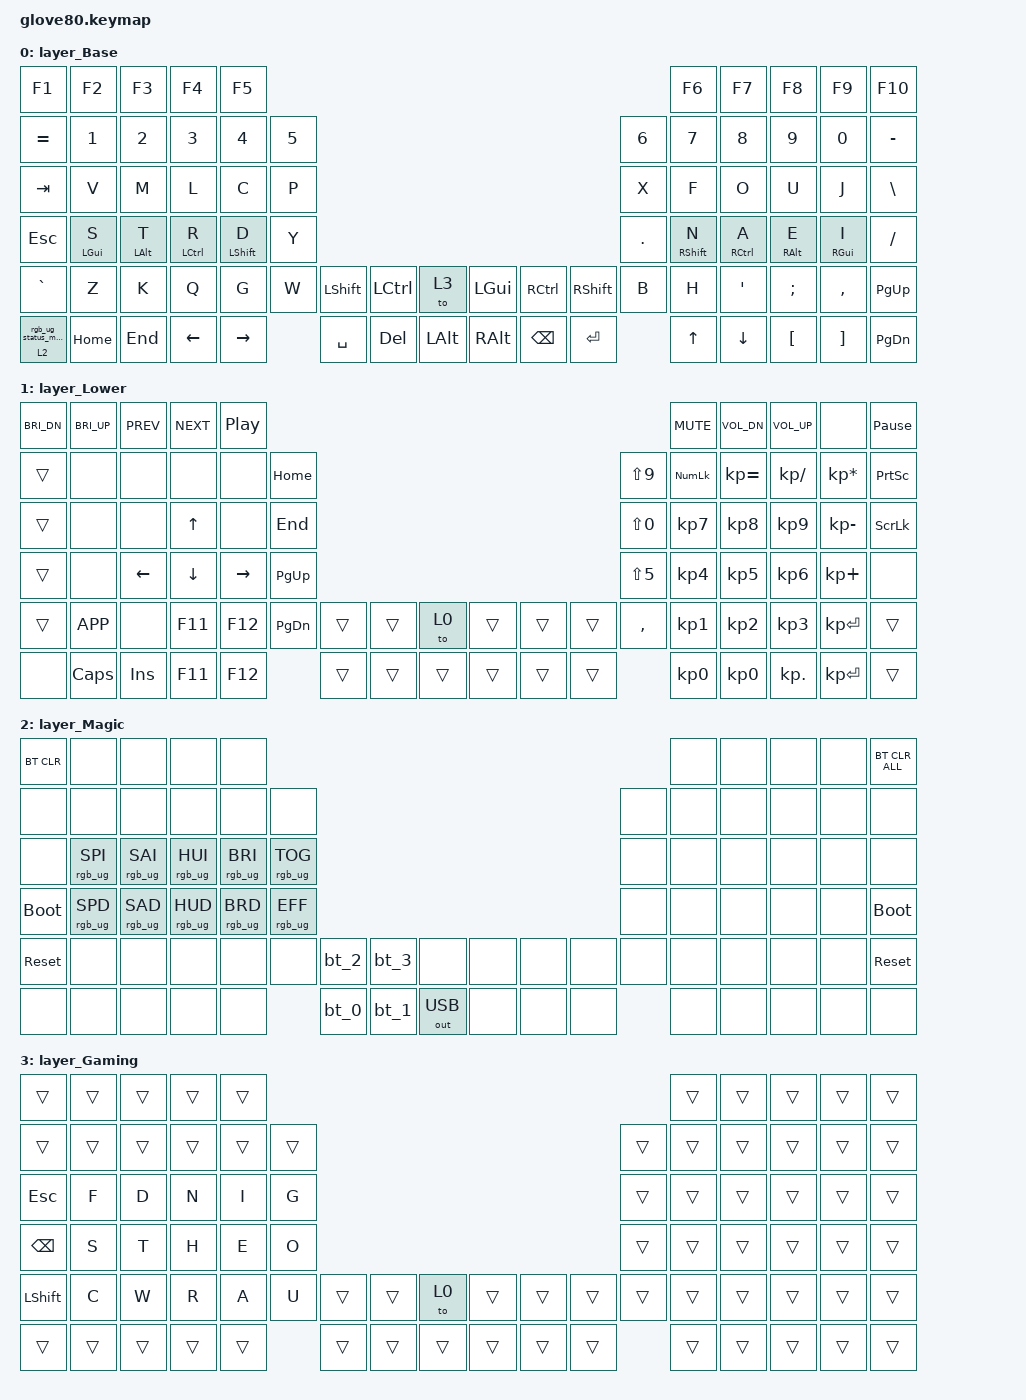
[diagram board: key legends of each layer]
/*
 * Copyright (c) 2020 The ZMK Contributors
 *
 * SPDX-License-Identifier: MIT
 */

#include <physical_layouts.dtsi>
#include <behaviors.dtsi>
#include <dt-bindings/zmk/bt.h>
#include <dt-bindings/zmk/keys.h>
#include <dt-bindings/zmk/outputs.h>
#include <dt-bindings/zmk/rgb.h>

#define HYPER LC(LS(LG(LALT)))
#define POS_LH_C6R1 0
#define POS_LH_C5R1 1
#define POS_LH_C4R1 2
#define POS_LH_C3R1 3
#define POS_LH_C2R1 4
#define POS_RH_C2R1 5
#define POS_RH_C3R1 6
#define POS_RH_C4R1 7
#define POS_RH_C5R1 8
#define POS_RH_C6R1 9
#define POS_LH_C6R2 10
#define POS_LH_C5R2 11
#define POS_LH_C4R2 12
#define POS_LH_C3R2 13
#define POS_LH_C2R2 14
#define POS_LH_C1R2 15
#define POS_RH_C1R2 16
#define POS_RH_C2R2 17
#define POS_RH_C3R2 18
#define POS_RH_C4R2 19
#define POS_RH_C5R2 20
#define POS_RH_C6R2 21
#define POS_LH_C6R3 22
#define POS_LH_C5R3 23
#define POS_LH_C4R3 24
#define POS_LH_C3R3 25
#define POS_LH_C2R3 26
#define POS_LH_C1R3 27
#define POS_RH_C1R3 28
#define POS_RH_C2R3 29
#define POS_RH_C3R3 30
#define POS_RH_C4R3 31
#define POS_RH_C5R3 32
#define POS_RH_C6R3 33
#define POS_LH_C6R4 34
#define POS_LH_C5R4 35
#define POS_LH_C4R4 36
#define POS_LH_C3R4 37
#define POS_LH_C2R4 38
#define POS_LH_C1R4 39
#define POS_RH_C1R4 40
#define POS_RH_C2R4 41
#define POS_RH_C3R4 42
#define POS_RH_C4R4 43
#define POS_RH_C5R4 44
#define POS_RH_C6R4 45
#define POS_LH_C6R5 46
#define POS_LH_C5R5 47
#define POS_LH_C4R5 48
#define POS_LH_C3R5 49
#define POS_LH_C2R5 50
#define POS_LH_C1R5 51
#define POS_LH_T1 52
#define POS_LH_T2 53
#define POS_LH_T3 54
#define POS_RH_T3 55
#define POS_RH_T2 56
#define POS_RH_T1 57
#define POS_RH_C1R5 58
#define POS_RH_C2R5 59
#define POS_RH_C3R5 60
#define POS_RH_C4R5 61
#define POS_RH_C5R5 62
#define POS_RH_C6R5 63
#define POS_LH_C6R6 64
#define POS_LH_C5R6 65
#define POS_LH_C4R6 66
#define POS_LH_C3R6 67
#define POS_LH_C2R6 68
#define POS_LH_T4 69
#define POS_LH_T5 70
#define POS_LH_T6 71
#define POS_RH_T6 72
#define POS_RH_T5 73
#define POS_RH_T4 74
#define POS_RH_C2R6 75
#define POS_RH_C3R6 76
#define POS_RH_C4R6 77
#define POS_RH_C5R6 78
#define POS_RH_C6R6 79

// layers

#define DEFAULT 0
#define LOWER 1
#define LAYER_MAGIC 2
#define GAMING 3

/ {
    behaviors {
        // For the "layer" key, it'd nice to be able to use it as either a shift or a toggle.
        // Configure it as a tap dance, so the first tap (or hold) is a &mo and the second tap is a &to

        layer_td: tap_dance_0 {
            compatible = "zmk,behavior-tap-dance";
            label = "LAYER_TAP_DANCE";
            #binding-cells = <0>;
            tapping-term-ms = <200>;
            bindings = <&mo LOWER>, <&to LOWER>;
        };

        magic: magic_hold_tap {
            compatible = "zmk,behavior-hold-tap";
            label = "MAGIC_HOLD_TAP";
            #binding-cells = <2>;
            flavor = "tap-preferred";
            tapping-term-ms = <200>;
            bindings = <&mo>, <&rgb_ug_status_macro>;
        };

        hmr: hmr {
            compatible = "zmk,behavior-hold-tap";
            #binding-cells = <2>;
            tapping-term-ms = <150>;
            bindings = <&kp>, <&kp>;

            flavor = "balanced";
            retro-tap;
            hold-trigger-key-positions = <POS_LH_T1 POS_LH_C6R1 POS_LH_C5R1 POS_LH_C4R1 POS_LH_C3R1 POS_LH_C2R1 POS_LH_C6R2 POS_LH_C5R2 POS_LH_C4R2 POS_LH_C3R2 POS_LH_C2R2 POS_LH_C1R2 POS_LH_C6R3 POS_LH_C5R3 POS_LH_C4R3 POS_LH_C3R3 POS_LH_C2R3 POS_LH_C1R3 POS_LH_C6R4 POS_LH_C5R4 POS_LH_C4R4 POS_LH_C3R4 POS_LH_C2R4 POS_LH_C1R4 POS_LH_C6R5 POS_LH_C5R5 POS_LH_C4R5 POS_LH_C3R5 POS_LH_C2R5 POS_LH_C1R5 POS_LH_T2 POS_LH_T3 POS_LH_C6R6 POS_LH_C5R6 POS_LH_C4R6 POS_LH_C3R6 POS_LH_C2R6 POS_LH_T4 POS_LH_T5 POS_LH_T6>;
            hold-trigger-on-release;
        };

        hml: hml {
            compatible = "zmk,behavior-hold-tap";
            #binding-cells = <2>;
            tapping-term-ms = <150>;
            bindings = <&kp>, <&kp>;

            flavor = "balanced";
            retro-tap;
            hold-trigger-key-positions = <POS_RH_C2R1 POS_RH_C3R1 POS_RH_C4R1 POS_RH_C5R1 POS_RH_C6R1 POS_RH_C1R2 POS_RH_C2R2 POS_RH_C3R2 POS_RH_C4R2 POS_RH_C5R2 POS_RH_C6R2 POS_RH_C1R3 POS_RH_C2R3 POS_RH_C3R3 POS_RH_C4R3 POS_RH_C5R3 POS_RH_C6R3 POS_RH_C1R4 POS_RH_C3R4 POS_RH_C4R4 POS_RH_C5R4 POS_RH_C6R4 POS_RH_T3 POS_RH_T2 POS_RH_C2R5 POS_RH_C3R5 POS_RH_C4R5 POS_RH_C5R5 POS_RH_C6R5 POS_RH_T6 POS_RH_T5 POS_RH_T4 POS_RH_C2R6 POS_RH_C3R6 POS_RH_C4R6 POS_RH_C5R6 POS_RH_C6R6 POS_RH_C2R4 POS_RH_C1R5 POS_RH_T1>;
            hold-trigger-on-release;
        };
    };
};

/ {
    macros {
        rgb_ug_status_macro: rgb_ug_status_macro_0 {
            label = "RGB_UG_STATUS";
            compatible = "zmk,behavior-macro";
            #binding-cells = <0>;
            bindings = <&rgb_ug RGB_STATUS>;
        };

        bt_0: bt_profile_macro_0 {
            label = "BT_0";
            compatible = "zmk,behavior-macro";
            #binding-cells = <0>;
            bindings = <&out OUT_BLE &bt BT_SEL 0>;
        };

        bt_1: bt_profile_macro_1 {
            label = "BT_1";
            compatible = "zmk,behavior-macro";
            #binding-cells = <0>;
            bindings = <&out OUT_BLE &bt BT_SEL 1>;
        };

        bt_2: bt_profile_macro_2 {
            label = "BT_2";
            compatible = "zmk,behavior-macro";
            #binding-cells = <0>;
            bindings = <&out OUT_BLE &bt BT_SEL 2>;
        };

        bt_3: bt_profile_macro_3 {
            label = "BT_3";
            compatible = "zmk,behavior-macro";
            #binding-cells = <0>;
            bindings = <&out OUT_BLE &bt BT_SEL 3>;
        };
    };
};

/ {
    combos {
        compatible = "zmk,combos";

        Combo_J {
            bindings = <&kp J>;
            key-positions = <69 23>;
            timeout-ms = <50>;
            layers = <3>;
        };

        K_Combo {
            bindings = <&kp K>;
            key-positions = <69 24>;
            timeout-ms = <50>;
            layers = <3>;
        };

        M_Combo {
            bindings = <&kp M>;
            key-positions = <69 25>;
            timeout-ms = <50>;
            layers = <3>;
        };

        Quu {
            bindings = <&kp SQT>;
            key-positions = <69 26>;
            timeout-ms = <50>;
            layers = <3>;
        };

        Dash_Combo {
            bindings = <&kp MINUS>;
            key-positions = <69 27>;
            timeout-ms = <50>;
            layers = <3>;
        };

        Y_Combo {
            bindings = <&kp Y>;
            key-positions = <69 35>;
            timeout-ms = <50>;
            layers = <3>;
        };

        P_Combo {
            bindings = <&kp P>;
            key-positions = <69 36>;
            timeout-ms = <50>;
            layers = <3>;
        };

        L_Combo {
            bindings = <&kp L>;
            key-positions = <69 37>;
            timeout-ms = <50>;
            layers = <3>;
        };

        Dot_Combo {
            bindings = <&kp PERIOD>;
            key-positions = <69 38>;
            timeout-ms = <50>;
            layers = <3>;
        };

        Q_Combo {
            bindings = <&kp Q>;
            key-positions = <69 39>;
            timeout-ms = <50>;
            layers = <3>;
        };

        X_Combo {
            bindings = <&kp X>;
            key-positions = <69 47>;
            timeout-ms = <50>;
            layers = <3>;
        };

        B_Combo {
            bindings = <&kp B>;
            key-positions = <69 48>;
            timeout-ms = <50>;
            layers = <3>;
        };

        V_Combo {
            bindings = <&kp V>;
            key-positions = <69 49>;
            timeout-ms = <50>;
            layers = <3>;
        };

        Comma_Combo {
            bindings = <&kp COMMA>;
            key-positions = <69 50>;
            timeout-ms = <50>;
            layers = <3>;
        };

        Z_Combo {
            bindings = <&kp Z>;
            key-positions = <69 51>;
            timeout-ms = <50>;
            layers = <3>;
        };
    };
};

/ {
    keymap {
        compatible = "zmk,keymap";

        layer_Base {
            bindings = <
&kp F1      &kp F2       &kp F3       &kp F4        &kp F5                                                                                         &kp F6        &kp F7        &kp F8       &kp F9       &kp F10
&kp EQUAL   &kp N1       &kp N2       &kp N3        &kp N4        &kp N5                                                                  &kp N6   &kp N7        &kp N8        &kp N9       &kp N0       &kp MINUS
&kp TAB     &kp V        &kp M        &kp L         &kp C         &kp P                                                                   &kp X    &kp F         &kp O         &kp U        &kp J        &kp BSLH
&kp ESC     &hml LGUI S  &hml LALT T  &hml LCTRL R  &hml LSHFT D  &kp Y                                                                   &kp DOT  &hmr RSHFT N  &hmr RCTRL A  &hmr RALT E  &hmr RGUI I  &kp FSLH
&kp GRAVE   &kp Z        &kp K        &kp Q         &kp G         &kp W   &kp LSHFT  &kp LCTRL  &to 3     &kp LGUI  &kp RCTRL  &kp RSHFT  &kp B    &kp H         &kp SQT       &kp SEMI     &kp COMMA    &kp PG_UP
&magic 2 0  &kp HOME     &kp END      &kp LEFT      &kp RIGHT             &kp SPACE  &kp DEL    &kp LALT  &kp RALT  &kp BSPC   &kp RET             &kp UP        &kp DOWN      &kp LBKT     &kp RBKT     &kp PG_DN
            >;
        };

        layer_Lower {
            bindings = <
&kp C_BRI_DN  &kp C_BRI_UP  &kp C_PREV      &kp C_NEXT      &kp C_PP                                                                                &kp C_MUTE  &kp C_VOL_DN  &kp C_VOL_UP  &none            &kp PAUSE_BREAK
&trans        &none         &none           &none           &none            &kp HOME                                                   &kp LS(N9)  &kp KP_NUM  &kp KP_EQUAL  &kp KP_SLASH  &kp KP_MULTIPLY  &kp PRINTSCREEN
&trans        &none         &none           &kp UP_ARROW    &none            &kp END                                                    &kp LS(N0)  &kp KP_N7   &kp KP_N8     &kp KP_N9     &kp KP_MINUS     &kp SCROLLLOCK
&trans        &none         &kp LEFT_ARROW  &kp DOWN_ARROW  &kp RIGHT_ARROW  &kp PG_UP                                                  &kp LS(N5)  &kp KP_N4   &kp KP_N5     &kp KP_N6     &kp KP_PLUS      &none
&trans        &kp K_APP     &none           &kp F11         &kp F12          &kp PG_DN  &trans  &trans  &to 0   &trans  &trans  &trans  &kp COMMA   &kp KP_N1   &kp KP_N2     &kp KP_N3     &kp KP_ENTER     &trans
&none         &kp CAPS      &kp INS         &kp F11         &kp F12                     &trans  &trans  &trans  &trans  &trans  &trans              &kp KP_N0   &kp KP_N0     &kp KP_DOT    &kp KP_ENTER     &trans
            >;
        };

        layer_Magic {
            bindings = <
&bt BT_CLR   &none            &none            &none            &none                                                                                     &none  &none  &none  &none  &bt BT_CLR_ALL
&none        &none            &none            &none            &none            &none                                                             &none  &none  &none  &none  &none  &none
&none        &rgb_ug RGB_SPI  &rgb_ug RGB_SAI  &rgb_ug RGB_HUI  &rgb_ug RGB_BRI  &rgb_ug RGB_TOG                                                   &none  &none  &none  &none  &none  &none
&bootloader  &rgb_ug RGB_SPD  &rgb_ug RGB_SAD  &rgb_ug RGB_HUD  &rgb_ug RGB_BRD  &rgb_ug RGB_EFF                                                   &none  &none  &none  &none  &none  &bootloader
&sys_reset   &none            &none            &none            &none            &none            &bt_2  &bt_3  &none         &none  &none  &none  &none  &none  &none  &none  &none  &sys_reset
&none        &none            &none            &none            &none                             &bt_0  &bt_1  &out OUT_USB  &none  &none  &none         &none  &none  &none  &none  &none
            >;
        };

        layer_Gaming {
            bindings = <
&trans     &trans  &trans  &trans  &trans                                                                  &trans  &trans  &trans  &trans  &trans
&trans     &trans  &trans  &trans  &trans  &trans                                                  &trans  &trans  &trans  &trans  &trans  &trans
&kp ESC    &kp F   &kp D   &kp N   &kp I   &kp G                                                   &trans  &trans  &trans  &trans  &trans  &trans
&kp BSPC   &kp S   &kp T   &kp H   &kp E   &kp O                                                   &trans  &trans  &trans  &trans  &trans  &trans
&kp LSHFT  &kp C   &kp W   &kp R   &kp A   &kp U   &trans  &trans  &to 0   &trans  &trans  &trans  &trans  &trans  &trans  &trans  &trans  &trans
&trans     &trans  &trans  &trans  &trans          &trans  &trans  &trans  &trans  &trans  &trans          &trans  &trans  &trans  &trans  &trans
            >;
        };
    };
};
